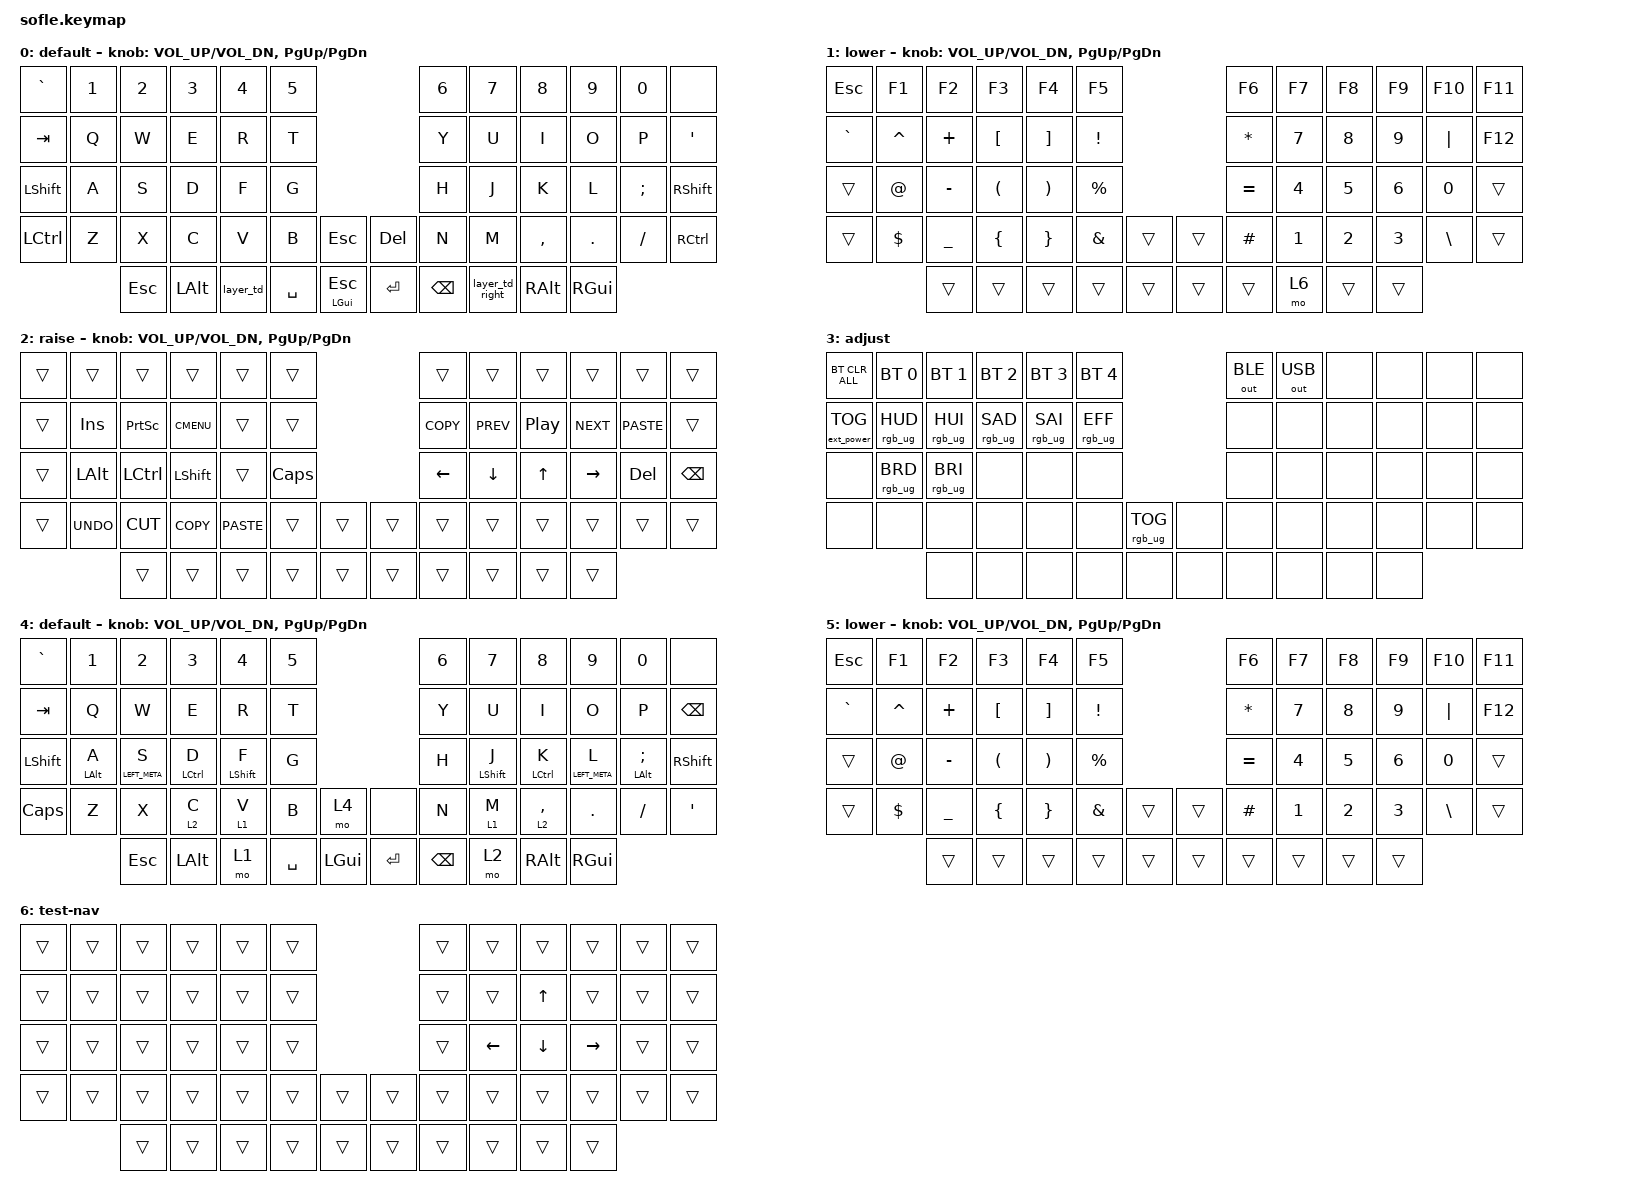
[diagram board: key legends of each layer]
/*
 * Copyright (c) 2020 The ZMK Contributors
 *
 * SPDX-License-Identifier: MIT
 */

#include <behaviors.dtsi>
#include <dt-bindings/zmk/bt.h>
#include <dt-bindings/zmk/ext_power.h>
#include <dt-bindings/zmk/keys.h>
#include <dt-bindings/zmk/outputs.h>
#include <dt-bindings/zmk/rgb.h>

#define BASE 0
#define LOWER 1
#define RAISE 2
#define ADJUST 3

/ {
    // Activate ADJUST layer by pressing raise and lower

    conditional_layers {
        compatible = "zmk,conditional-layers";

        adjust_layer {
            if-layers = <1 2>;
            then-layer = <3>;
        };
    };

    behaviors {
        hm: hm {
            compatible = "zmk,behavior-hold-tap";
            label = "HM";
            bindings = <&kp>, <&kp>;

            #binding-cells = <2>;
            tapping-term-ms = <200>;
            quick-tap-ms = <200>;
            require-prior-idle-ms = <200>;
            flavor = "tap-preferred";
        };

        layer_td: layer_td {
            compatible = "zmk,behavior-tap-dance";
            label = "LAYER_TD";
            #binding-cells = <0>;
            bindings = <&mo 1>, <&mo 2>;

            tapping-term-ms = <200>;
        };

        layer_td_right: layer_td_right {
            compatible = "zmk,behavior-tap-dance";
            label = "LAYER_TD_RIGHT";
            #binding-cells = <0>;
            bindings = <&mo 5>, <&mo 2>;
        };
    };

    keymap {
        compatible = "zmk,keymap";

        default_layer {
            display-name = "default";

            // ------------------------------------------------------------------------------------------------------------
            // |   `   |  1  |  2  |  3   |  4   |  5   |                   |  6   |  7    |  8    |  9   |   0   |       |
            // |  ESC  |  Q  |  W  |  E   |  R   |  T   |                   |  Y   |  U    |  I    |  O   |   P   | BKSPC |
            // |  TAB  |  A  |  S  |  D   |  F   |  G   |                   |  H   |  J    |  K    |  L   |   ;   |   '   |
            // | SHIFT |  Z  |  X  |  C   |  V   |  B   |  MUTE  |  |       |  N   |  M    |  ,    |  .   |   /   | SHIFT |
            //               | GUI | ALT  | CTRL | LOWER|  ENTER |  | SPACE | RAISE| CTRL  | ALT   | GUI  |

            bindings = <
&kp GRAVE  &kp N1  &kp N2   &kp N3    &kp N4     &kp N5                              &kp N6    &kp N7           &kp N8     &kp N9    &kp N0    &none
&kp TAB    &kp Q   &kp W    &kp E     &kp R      &kp T                               &kp Y     &kp U            &kp I      &kp O     &kp P     &kp SQT
&kp LSHFT  &kp A   &kp S    &kp D     &kp F      &kp G                               &kp H     &kp J            &kp K      &kp L     &kp SEMI  &kp RSHFT
&kp LCTRL  &kp Z   &kp X    &kp C     &kp V      &kp B      &kp ESCAPE      &kp DEL  &kp N     &kp M            &kp COMMA  &kp DOT   &kp FSLH  &kp RCTRL
                   &kp ESC  &kp LALT  &layer_td  &kp SPACE  &mt LGUI ESC    &kp RET  &kp BSPC  &layer_td_right  &kp RALT   &kp RGUI
            >;

            sensor-bindings = <&inc_dec_kp C_VOL_UP C_VOL_DN &inc_dec_kp PG_UP PG_DN>;
        };

        lower_layer {
            display-name = "lower";

            // TODO: Some binds are waiting for shifted keycode support.
            // ------------------------------------------------------------------------------------------------------------
            // |       |  F1 |  F2 |  F3  |  F4  |  F5  |                   |  F6  |  F7   |  F8   |  F9  |  F10  |  F11  |
            // |   `   |  !  |  +  |  [   |  ]   |  ^   |                   |  <   |  7    |  8    |  9   |   *   |  F12  |
            // |       |  @  |  -  |  (   |  )   |  %   |                   |  >   |  4    |  5    |  6   |   0   |   |   |
            // |       |  $  |  =  |  {   |  }   |  &   |        |  |       |  #   |  1    |  2    |  3   |   \   |       |
            //               |     |      |      |      |        |  |       |      |       |       |      |

            bindings = <
&kp ESC    &kp F1     &kp F2          &kp F3    &kp F4    &kp F5                             &kp F6     &kp F7  &kp F8  &kp F9  &kp F10   &kp F11
&kp GRAVE  &kp CARET  &kp PLUS        &kp LBKT  &kp RBKT  &kp EXCLAMATION                    &kp ASTRK  &kp N7  &kp N8  &kp N9  &kp PIPE  &kp F12
&trans     &kp AT     &kp MINUS       &kp LPAR  &kp RPAR  &kp PRCNT                          &kp EQUAL  &kp N4  &kp N5  &kp N6  &kp N0    &trans
&trans     &kp DLLR   &kp UNDERSCORE  &kp LBRC  &kp RBRC  &kp AMPS         &trans    &trans  &kp HASH   &kp N1  &kp N2  &kp N3  &kp BSLH  &trans
                      &trans          &trans    &trans    &trans           &trans    &trans  &trans     &mo 6   &trans  &trans
            >;

            sensor-bindings = <&inc_dec_kp C_VOL_UP C_VOL_DN &inc_dec_kp PG_UP PG_DN>;
        };

        raise_layer {
            display-name = "raise";

            // ------------------------------------------------------------------------------------------------------------
            // | BTCLR | BT1  | BT2  |  BT3  |  BT4  |  BT5 |                |      |      |       |      |       |       |
            // |       | INS  | PSCR | GUI   |       |      |                | PGUP |      |   ^   |      |       |       |
            // |       | ALT  | CTRL | SHIFT |       | CAPS |                | PGDN |   <- |   v   |  ->  |  DEL  | BKSPC |
            // |       | UNDO | CUT  | COPY  | PASTE |      |      |  |      |      |      |       |      |       |       |
            //                |      |       |       |      |      |  |      |      |      |       |      |

            bindings = <
&trans  &trans      &trans     &trans       &trans       &trans                      &trans      &trans      &trans            &trans      &trans       &trans
&trans  &kp INS     &kp PSCRN  &kp K_CMENU  &trans       &trans                      &kp K_COPY  &kp C_PREV  &kp C_PLAY_PAUSE  &kp C_NEXT  &kp K_PASTE  &trans
&trans  &kp LALT    &kp LCTRL  &kp LSHFT    &trans       &kp CLCK                    &kp LEFT    &kp DOWN    &kp UP            &kp RIGHT   &kp DEL      &kp BSPC
&trans  &kp K_UNDO  &kp K_CUT  &kp K_COPY   &kp K_PASTE  &trans    &trans    &trans  &trans      &trans      &trans            &trans      &trans       &trans
                    &trans     &trans       &trans       &trans    &trans    &trans  &trans      &trans      &trans            &trans
            >;

            sensor-bindings = <&inc_dec_kp C_VOL_UP C_VOL_DN &inc_dec_kp PG_UP PG_DN>;
        };

        adjust_layer {
            // ----------------------------------------------------------------------------------------------------------------------------
            // | BTCLR  |  BT1    |  BT2    |   BT3   |   BT4   |   BT5   |                  |      |      |       |      |       |       |
            // | EXTPWR | RGB_HUD | RGB_HUI | RGB_SAD | RGB_SAI | RGB_EFF |                  |      |      |       |      |       |       |
            // |        | RGB_BRD | RGB_BRI |         |         |         |                  |      |      |       |      |       |       |
            // |        |         |         |         |         |         | RGB_TOG | |      |      |      |       |      |       |       |
            //                    |         |         |         |         |         | |      |      |      |       |      |

            display-name = "adjust";
            bindings = <
&bt BT_CLR_ALL     &bt BT_SEL 0     &bt BT_SEL 1     &bt BT_SEL 2     &bt BT_SEL 3     &bt BT_SEL 4                               &out OUT_BLE  &out OUT_USB  &none  &none  &none  &none
&ext_power EP_TOG  &rgb_ug RGB_HUD  &rgb_ug RGB_HUI  &rgb_ug RGB_SAD  &rgb_ug RGB_SAI  &rgb_ug RGB_EFF                            &none         &none         &none  &none  &none  &none
&none              &rgb_ug RGB_BRD  &rgb_ug RGB_BRI  &none            &none            &none                                      &none         &none         &none  &none  &none  &none
&none              &none            &none            &none            &none            &none            &rgb_ug RGB_TOG    &none  &none         &none         &none  &none  &none  &none
                                    &none            &none            &none            &none            &none              &none  &none         &none         &none  &none
            >;
        };

        homerow {
            display-name = "default";
            bindings = <
&kp GRAVE  &kp N1          &kp N2           &kp N3              &kp N4            &kp N5                          &kp N6    &kp N7            &kp N8              &kp N9           &kp N0                  &none
&kp TAB    &kp Q           &kp W            &kp E               &kp R             &kp T                           &kp Y     &kp U             &kp I               &kp O            &kp P                   &kp BSPC
&kp LSHFT  &hm LEFT_ALT A  &hm LEFT_META S  &hm LEFT_CONTROL D  &hm LEFT_SHIFT F  &kp G                           &kp H     &hm LEFT_SHIFT J  &hm LEFT_CONTROL K  &hm LEFT_META L  &hm LEFT_ALT SEMICOLON  &kp RSHFT
&kp CLCK   &kp Z           &kp X            &lt 2 C             &lt 1 V           &kp B      &mo 4       &none    &kp N     &lt 1 M           &lt 2 COMMA         &kp DOT          &kp FSLH                &kp SQT
                           &kp ESC          &kp LALT            &mo 1             &kp SPACE  &kp LGUI    &kp RET  &kp BSPC  &mo 2             &kp RALT            &kp RGUI
            >;

            sensor-bindings =
                <&inc_dec_kp C_VOL_UP C_VOL_DN>,
                <&inc_dec_kp PG_UP PG_DN>;
        };

        lower_layer_right {
            display-name = "lower";
            bindings = <
&kp ESC    &kp F1     &kp F2          &kp F3    &kp F4    &kp F5                             &kp F6     &kp F7  &kp F8  &kp F9  &kp F10   &kp F11
&kp GRAVE  &kp CARET  &kp PLUS        &kp LBKT  &kp RBKT  &kp EXCLAMATION                    &kp ASTRK  &kp N7  &kp N8  &kp N9  &kp PIPE  &kp F12
&trans     &kp AT     &kp MINUS       &kp LPAR  &kp RPAR  &kp PRCNT                          &kp EQUAL  &kp N4  &kp N5  &kp N6  &kp N0    &trans
&trans     &kp DLLR   &kp UNDERSCORE  &kp LBRC  &kp RBRC  &kp AMPS         &trans    &trans  &kp HASH   &kp N1  &kp N2  &kp N3  &kp BSLH  &trans
                      &trans          &trans    &trans    &trans           &trans    &trans  &trans     &trans  &trans  &trans
            >;

            sensor-bindings =
                <&inc_dec_kp C_VOL_UP C_VOL_DN>,
                <&inc_dec_kp PG_UP PG_DN>;
        };

        test-nav {
            bindings = <
&trans  &trans  &trans  &trans  &trans  &trans                    &trans  &trans          &trans        &trans     &trans  &trans
&trans  &trans  &trans  &trans  &trans  &trans                    &trans  &trans          &kp UP_ARROW  &trans     &trans  &trans
&trans  &trans  &trans  &trans  &trans  &trans                    &trans  &kp LEFT_ARROW  &kp DOWN      &kp RIGHT  &trans  &trans
&trans  &trans  &trans  &trans  &trans  &trans  &trans    &trans  &trans  &trans          &trans        &trans     &trans  &trans
                &trans  &trans  &trans  &trans  &trans    &trans  &trans  &trans          &trans        &trans
            >;
        };
    };
};
